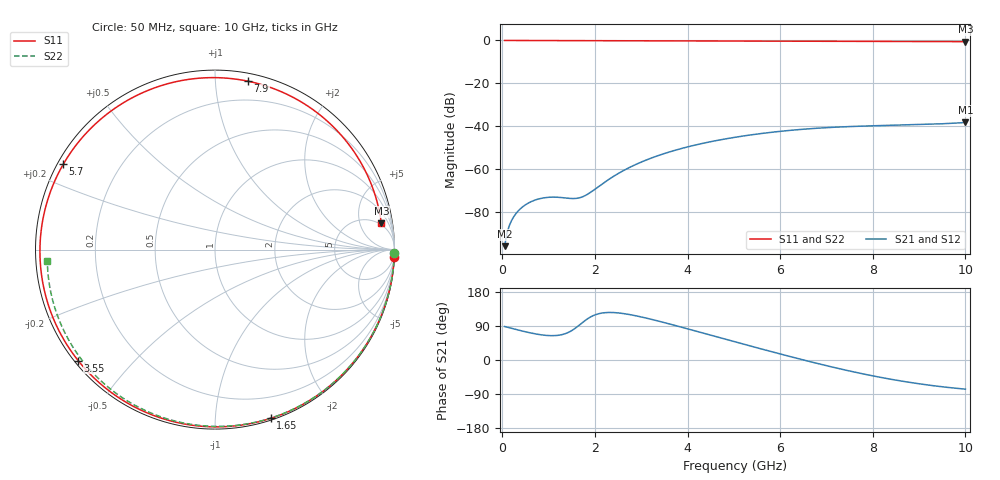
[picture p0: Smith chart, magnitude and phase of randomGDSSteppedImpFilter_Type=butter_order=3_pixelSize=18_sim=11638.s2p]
! freq	dB(S11)	phase(S11)	dB(S12)	phase(S12)
!  dB(S21)	phase(S21)	dB(S22)	phase(S22)
!S-par simulation data
#  GHz  S  DB  R 50
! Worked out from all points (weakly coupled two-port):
!   200 points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, 50 MHz to 10 GHz, reference 50 ohm
!   highest |S21| = -38.18 dB at 10 GHz (marker M1); lowest = -95.7 dB at 50 MHz (marker M2)
!   lowest |S11| = -0.6 dB at 10 GHz (marker M3), VSWR 31.46, Z = 225 + j549 ohm
!   |S11| at or under -10 dB: nowhere
!   |S22| runs from -0.6 to 0.0 dB; largest |S21 - S12| = 0
!   S11 on the Smith chart (normalised r, x): 50 MHz: 0, -50; 1.65 GHz: 0.01, -1.38; 3.55 GHz: 0.01, -0.35; 5.7 GHz: 0.02, +0.26; 7.9 GHz: 0.06, +1.21; 10 GHz: 5, +11
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0.05  -0.00 -2.3  -95.74 88.4  -95.74 88.4  -0.00 -1.0
0.3  -0.02 -13.6  -80.44 80.4  -80.44 80.4  -0.01 -6.2
0.55  -0.03 -24.8  -75.83 73.1  -75.83 73.1  -0.01 -11.3
0.85  -0.05 -38.0  -73.44 66.3  -73.44 66.3  -0.02 -17.4
1.25  -0.07 -55.2  -73.06 66.0  -73.06 66.0  -0.03 -25.5
1.65  -0.09 -71.8  -73.32 90.8  -73.32 90.8  -0.04 -33.5
1.75  -0.09 -75.8  -72.61 100.6  -72.61 100.6  -0.05 -35.4
2.1  -0.11 -89.5  -67.68 122.7  -67.68 122.7  -0.05 -42.3
2.5  -0.12 -104.5  -61.97 124.3  -61.97 124.3  -0.06 -50.0
2.9  -0.14 -118.8  -57.55 116.3  -57.55 116.3  -0.07 -57.6
3.4  -0.15 -136.0  -53.34 101.8  -53.34 101.8  -0.09 -66.9
3.55  -0.16 -141.0  -52.28 97.1  -52.28 97.1  -0.09 -69.7
4.3  -0.20 -165.3  -48.02 72.2  -48.02 72.2  -0.12 -83.1
5.05  -0.23 171.1  -44.98 47.1  -44.98 47.1  -0.15 -96.0
5.7  -0.26 150.7  -43.02 25.7  -43.02 25.7  -0.18 -106.9
6.2  -0.29 134.8  -41.87 9.6  -41.87 9.6  -0.21 -115.1
6.7  -0.32 118.7  -41.00 -6.0  -41.00 -6.0  -0.24 -123.1
7.3  -0.36 99.0  -40.26 -23.6  -40.26 -23.6  -0.28 -132.7
7.9  -0.39 78.9  -39.78 -39.4  -39.78 -39.4  -0.33 -142.2
8.35  -0.41 63.6  -39.52 -49.9  -39.52 -49.9  -0.38 -149.3
9.2  -0.47 35.0  -39.02 -66.1  -39.02 -66.1  -0.47 -162.9
10  -0.55 8.9  -38.18 -76.9  -38.18 -76.9  -0.57 -176.0
